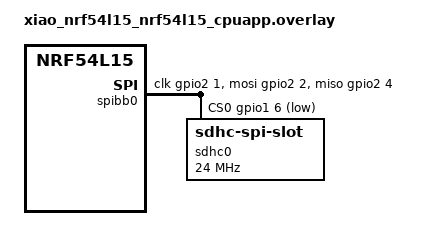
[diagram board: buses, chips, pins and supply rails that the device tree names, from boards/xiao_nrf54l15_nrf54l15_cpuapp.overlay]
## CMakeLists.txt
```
# SPDX-License-Identifier: Apache-2.0
# Copyright (c) 2025 Seeed Technology Co.,Ltd

cmake_minimum_required(VERSION 3.20.0)

# Boot-time reset reason readout, see lib/reset_reason
list(APPEND ZEPHYR_EXTRA_MODULES ${CMAKE_CURRENT_LIST_DIR}/../../lib/reset_reason)
find_package(Zephyr REQUIRED HINTS $ENV{ZEPHYR_BASE})
project(sd_card)

target_sources(app PRIVATE
  src/main.c
)
```

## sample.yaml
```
sample:
  name: SD Card + ZMS Storage
  description: SD card filesystem with ZMS (Zephyr Memory Storage) for persistent settings on nRF54L15
  
common:
  tags: storage filesystem sd_card spi zms
  
tests:
  sample.storage.sd_card_zms:
    harness: console
    platform_allow:
      - xiao_nrf54l15/nrf54l15/cpuapp
    tags: storage sd_card zms spi
    integration_platforms:
      - xiao_nrf54l15/nrf54l15/cpuapp
    extra_args:
      - OVERLAY_CONFIG=boards/xiao_nrf54l15_nrf54l15_cpuapp.overlay
```

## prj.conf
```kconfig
# SPDX-License-Identifier: Apache-2.0
# SD Card Sample Configuration - Based on working nRF54L15 configuration

# GPIO support
CONFIG_GPIO=y
CONFIG_STDOUT_CONSOLE=y
CONFIG_SPI=y
CONFIG_SPI_BITBANG=y

CONFIG_LOG=y

# SPI interface for SD card - using SPIM00 (SPIM120 high-speed)


# Logging configuration
CONFIG_LOG=y
CONFIG_SHELL_LOG_LEVEL_INF=y

# Debug optimizations
CONFIG_DEBUG_OPTIMIZATIONS=y

# Increased stack and heap sizes for SD card operations
CONFIG_SYSTEM_WORKQUEUE_STACK_SIZE=16384
CONFIG_HEAP_MEM_POOL_SIZE=16384
CONFIG_MAIN_STACK_SIZE=32000
CONFIG_IDLE_STACK_SIZE=8192

# Shell for filesystem operations
CONFIG_SHELL=y
CONFIG_SHELL_STACK_SIZE=16000
CONFIG_FILE_SYSTEM_SHELL=y

# SD Card disk access
CONFIG_DISK_DRIVER_SDMMC=y
CONFIG_DISK_ACCESS=y

# SDHC driver
CONFIG_SDHC=y

# FAT filesystem
CONFIG_FILE_SYSTEM=y
CONFIG_FAT_FILESYSTEM_ELM=y
CONFIG_FS_FATFS_LFN=y

# ZMS (Zephyr Memory Storage) - DISABLED for now, focus on SD card
# CONFIG_FLASH=y
# CONFIG_FLASH_MAP=y
# CONFIG_ZMS=y
# CONFIG_MPU_ALLOW_FLASH_WRITE=y
# CONFIG_SETTINGS=y
# CONFIG_SETTINGS_ZMS=y

# Optional: Shell for filesystem operations
# CONFIG_SHELL=y
# CONFIG_SHELL_LOG_LEVEL_INF=y
# CONFIG_FILE_SYSTEM_SHELL=y
```

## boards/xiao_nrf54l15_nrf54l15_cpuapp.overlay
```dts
/* SD Card configuration for XIAO Expansion Base
 * Using SPI bit-bang instead of hardware SPI
 * Pins: D8=SCK, D9=MISO, D10=MOSI, D2=CS
 */

/ {
	spibb0: spibb0 {
		compatible = "zephyr,spi-bitbang";
		status = "okay";
		#address-cells = <1>;
		#size-cells = <0>;
		clk-gpios = <&gpio2 1 GPIO_ACTIVE_HIGH>;
		mosi-gpios = <&gpio2 2 GPIO_ACTIVE_HIGH>;
		miso-gpios = <&gpio2 4 GPIO_ACTIVE_HIGH>;
		cs-gpios = <&gpio1 6 GPIO_ACTIVE_LOW>;

		sdhc0: sdhc@0 {
			compatible = "zephyr,sdhc-spi-slot";
			reg = <0>;
			status = "okay";
			mmc {
				compatible = "zephyr,sdmmc-disk";
				disk-name = "SD";
				status = "okay";
			};
			spi-max-frequency = <24000000>;
		};
	};

	aliases {
		sdhc0 = &sdhc0;
	};
};

&xiao_spi {
	status = "disabled";
};
```

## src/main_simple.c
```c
/*
 * Copyright (c) 2019 Tavish Naruka <tavishnaruka@gmail.com>
 * Copyright (c) 2023 Nordic Semiconductor ASA
 * Copyright (c) 2025 Seeed Technology Co.,Ltd
 *
 * SPDX-License-Identifier: Apache-2.0
 */

/* SD Card Filesystem Sample for XIAO nRF54L15 */

#include <zephyr/kernel.h>
#include <zephyr/device.h>
#include <zephyr/storage/disk_access.h>
#include <zephyr/logging/log.h>
#include <zephyr/fs/fs.h>

#include <ff.h>

#define DISK_DRIVE_NAME "SD"
#define DISK_MOUNT_PT "/SD:"

LOG_MODULE_REGISTER(main, LOG_LEVEL_INF);

static FATFS fat_fs;
static struct fs_mount_t mp = {
	.type = FS_FATFS,
	.fs_data = &fat_fs,
};

int main(void)
{
	int res;
	static const char *disk_pdrv = DISK_DRIVE_NAME;
	
	LOG_INF("========================================");
	LOG_INF("XIAO nRF54L15 SD Card Sample");
	LOG_INF("========================================");
	LOG_INF("Checking SD card...");

	/* Get SD card info (no init needed - happens automatically) */
	uint32_t block_count, block_size;
	if (disk_access_ioctl(disk_pdrv, DISK_IOCTL_GET_SECTOR_COUNT, &block_count) == 0) {
		LOG_INF("Block count: %u", block_count);
	}
	if (disk_access_ioctl(disk_pdrv, DISK_IOCTL_GET_SECTOR_SIZE, &block_size) == 0) {
		LOG_INF("Block size: %u bytes", block_size);
		uint32_t size_mb = ((uint64_t)block_count * block_size) >> 20;
		LOG_INF("Total size: %u MB", size_mb);
	}

	/* Mount filesystem */
	mp.mnt_point = DISK_MOUNT_PT;
	res = fs_mount(&mp);
	if (res == FR_OK) {
		LOG_INF("Filesystem mounted at %s", DISK_MOUNT_PT);
		
		/* Create a test file */
		struct fs_file_t file;
		fs_file_t_init(&file);
		
		char path[64];
		snprintf(path, sizeof(path), "%s/test.txt", DISK_MOUNT_PT);
		
		res = fs_open(&file, path, FS_O_CREATE | FS_O_WRITE);
		if (res == 0) {
			const char *data = "Hello from XIAO nRF54L15!\n";
			fs_write(&file, data, strlen(data));
			fs_close(&file);
			LOG_INF("Created test file: %s", path);
		} else {
			LOG_WRN("Could not create test file (err %d)", res);
		}
		
		fs_unmount(&mp);
		LOG_INF("SD card unmounted");
	} else {
		LOG_ERR("Failed to mount filesystem (err %d)", res);
		LOG_ERR("Try formatting SD card as FAT32");
	}

	LOG_INF("========================================");
	LOG_INF("Sample completed");
	LOG_INF("========================================");

	while (1) {
		k_sleep(K_SECONDS(1));
	}
	return 0;
}
```
